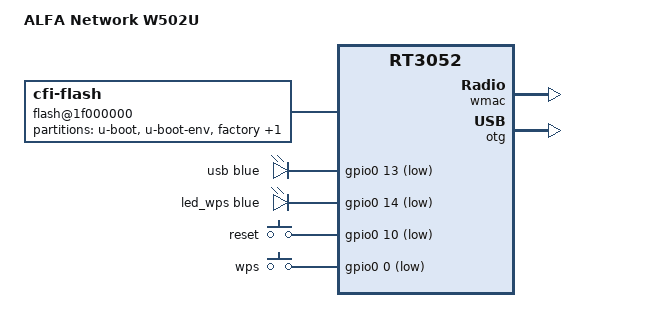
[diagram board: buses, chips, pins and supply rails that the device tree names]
#include "rt3050.dtsi"

#include <dt-bindings/gpio/gpio.h>
#include <dt-bindings/input/input.h>
#include <dt-bindings/leds/common.h>

/ {
	compatible = "alfa-network,w502u", "ralink,rt3052-soc";
	model = "ALFA Network W502U";

	aliases {
		led-boot = &led_wps;
		led-failsafe = &led_wps;
		led-running = &led_wps;
		led-upgrade = &led_wps;
	};

	chosen {
		bootargs = "console=ttyS0,115200";
	};

	flash@1f000000 {
		compatible = "cfi-flash";
		reg = <0x1f000000 0x800000>;
		bank-width = <2>;
		device-width = <2>;

		partitions {
			compatible = "fixed-partitions";
			#address-cells = <1>;
			#size-cells = <1>;

			partition@0 {
				label = "u-boot";
				reg = <0x0 0x30000>;
				read-only;
			};

			partition@30000 {
				label = "u-boot-env";
				reg = <0x30000 0x10000>;
				read-only;
			};

			partition@40000 {
				label = "factory";
				reg = <0x40000 0x10000>;
				read-only;

				nvmem-layout {
					compatible = "fixed-layout";
					#address-cells = <1>;
					#size-cells = <1>;

					eeprom_factory_0: eeprom@0 {
						reg = <0x0 0x200>;
					};

					macaddr_factory_28: macaddr@28 {
						reg = <0x28 0x6>;
					};
				};
			};

			partition@50000 {
				compatible = "denx,uimage";
				label = "firmware";
				reg = <0x50000 0x7b0000>;
			};
		};
	};

	leds {
		compatible = "gpio-leds";

		usb {
			function = LED_FUNCTION_USB;
			color = <LED_COLOR_ID_BLUE>;
			gpios = <&gpio0 13 GPIO_ACTIVE_LOW>;
			trigger-sources = <&otg_port1>;
			linux,default-trigger = "usbport";
		};

		led_wps: wps {
			function = LED_FUNCTION_WPS;
			color = <LED_COLOR_ID_BLUE>;
			gpios = <&gpio0 14 GPIO_ACTIVE_LOW>;
		};
	};

	keys {
		compatible = "gpio-keys";

		reset {
			label = "reset";
			gpios = <&gpio0 10 GPIO_ACTIVE_LOW>;
			linux,code = <KEY_RESTART>;
		};

		wps {
			label = "wps";
			gpios = <&gpio0 0 GPIO_ACTIVE_LOW>;
			linux,code = <KEY_WPS_BUTTON>;
		};
	};
};

&state_default {
	gpio {
		groups = "spi", "i2c", "jtag", "rgmii", "mdio", "uartf";
		function = "gpio";
	};
};

&ethernet {
	nvmem-cells = <&macaddr_factory_28>;
	nvmem-cell-names = "mac-address";
};

&esw {
	mediatek,portmap = <0x3e>;
};

&wmac {
	nvmem-cells = <&eeprom_factory_0>;
	nvmem-cell-names = "eeprom";
};

&otg {
	status = "okay";
};
